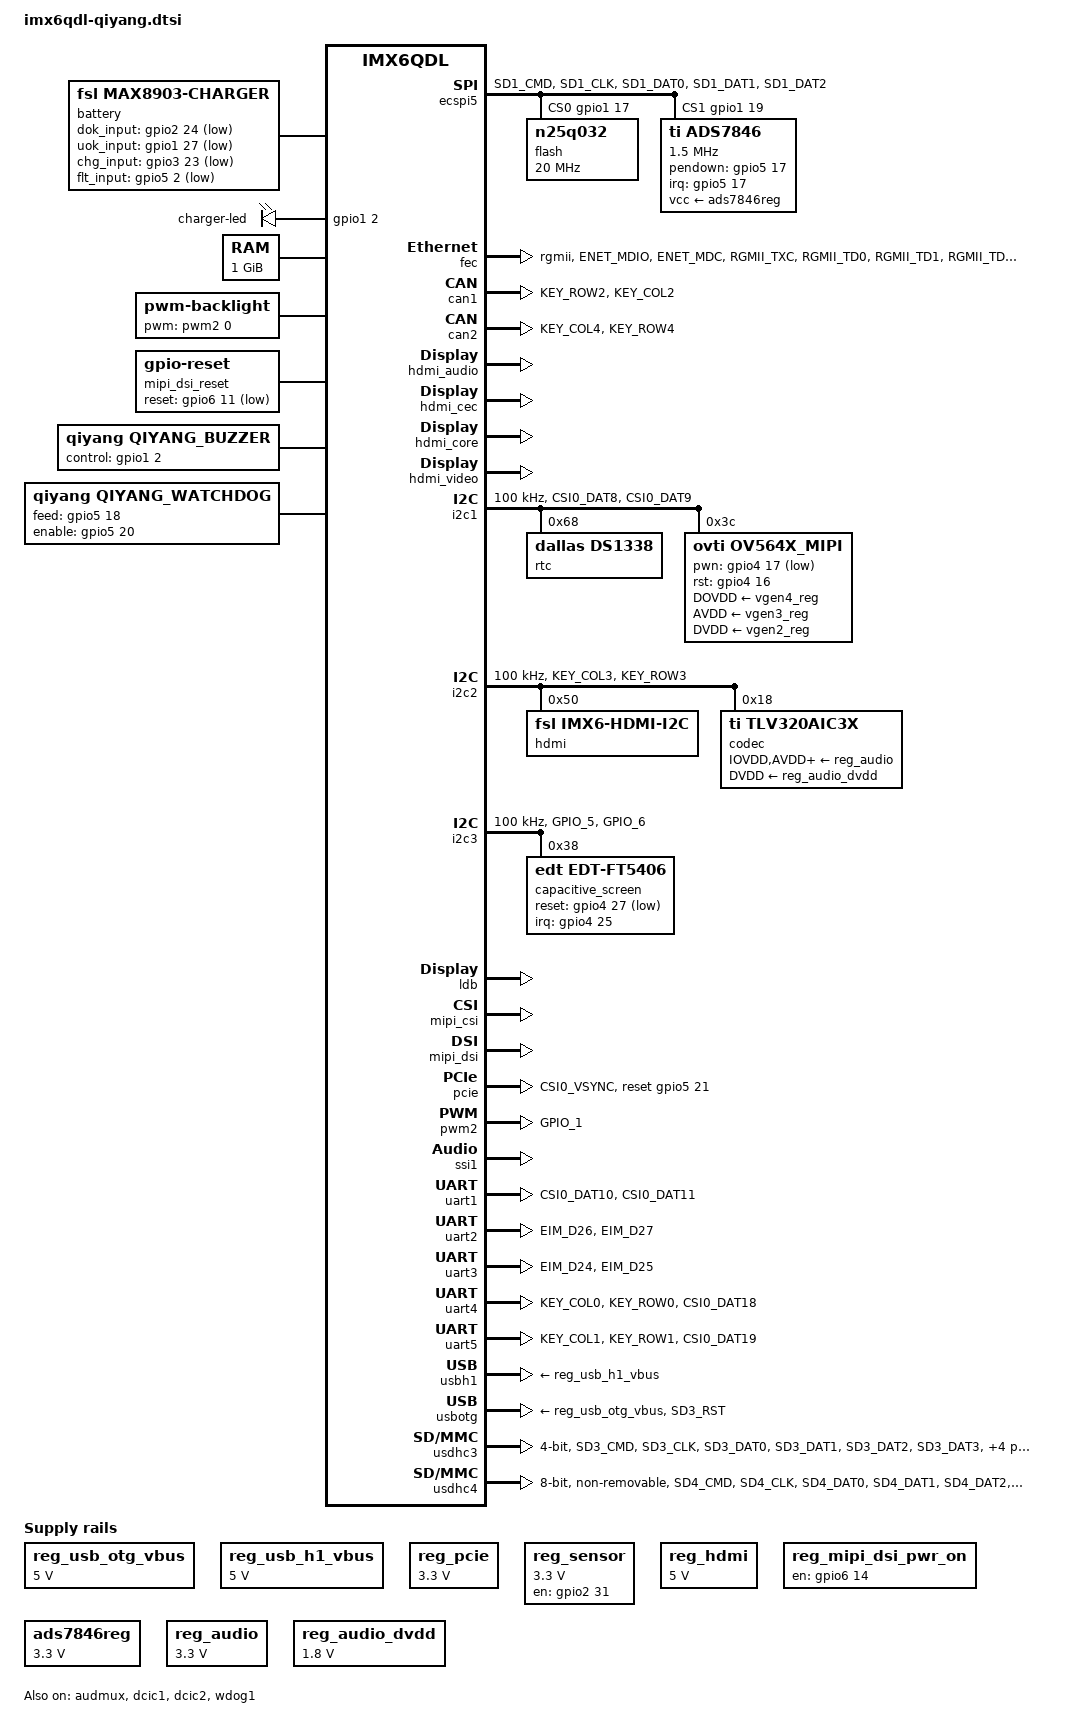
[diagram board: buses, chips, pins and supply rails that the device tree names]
/*
 * Copyright 2012-2016 Freescale Semiconductor, Inc.
 * Copyright 2011 Linaro Ltd.
 *
 * The code contained herein is licensed under the GNU General Public
 * License. You may obtain a copy of the GNU General Public License
 * Version 2 or later at the following locations:
 *
 * http://www.opensource.org/licenses/gpl-license.html
 * http://www.gnu.org/copyleft/gpl.html
 */

#include <dt-bindings/gpio/gpio.h>
#include <dt-bindings/input/input.h>

/ {
	aliases {
		mxcfb0 = &mxcfb1;
		mxcfb1 = &mxcfb2;
		mxcfb2 = &mxcfb3;
		mxcfb3 = &mxcfb4;
	};

	battery: max8903@0 {
		compatible = "fsl,max8903-charger";
		pinctrl-names = "default";
		dok_input = <&gpio2 24 1>;
		uok_input = <&gpio1 27 1>;
		chg_input = <&gpio3 23 1>;
		flt_input = <&gpio5 2 1>;
		fsl,dcm_always_high;
		fsl,dc_valid;
		fsl,usb_valid;
		status = "okay";
	};

	hannstar_cabc {
		compatible = "hannstar,cabc";
		lvds0 {
			gpios = <&gpio6 15 GPIO_ACTIVE_HIGH>;
		};
		lvds1 {
			gpios = <&gpio6 16 GPIO_ACTIVE_HIGH>;
		};
	};

	chosen {
		stdout-path = &uart1;
	};

	leds {
		compatible = "gpio-leds";

		charger-led {
			gpios = <&gpio1 2 0>;
			linux,default-trigger = "max8903-charger-charging";
			retain-state-suspended;
		};
	};

	memory: memory {
		reg = <0x10000000 0x40000000>;
	};

	regulators {
		compatible = "simple-bus";
		#address-cells = <1>;
		#size-cells = <0>;

		reg_usb_otg_vbus: regulator@0 {
			compatible = "regulator-fixed";
			reg = <0>;
			regulator-name = "usb_otg_vbus";
			regulator-min-microvolt = <5000000>;
			regulator-max-microvolt = <5000000>;
			regulator-always-on;
		};

		reg_usb_h1_vbus: regulator@1 {
			compatible = "regulator-fixed";
			reg = <1>;
			regulator-name = "usb_h1_vbus";
			regulator-min-microvolt = <5000000>;
			regulator-max-microvolt = <5000000>;
			regulator-always-on;
		};

		reg_pcie: regulator@3 {
			compatible = "regulator-fixed";
			reg = <3>;
			regulator-name = "MPCIE_3V3";
			regulator-min-microvolt = <3300000>;
			regulator-max-microvolt = <3300000>;
			regulator-always-on;
		};

		reg_sensor: regulator@4 {
			compatible = "regulator-fixed";
			reg = <4>;
			regulator-name = "sensor-supply";
			regulator-min-microvolt = <3300000>;
			regulator-max-microvolt = <3300000>;
			gpio = <&gpio2 31 0>;
			startup-delay-us = <500>;
			enable-active-high;
		};

		reg_hdmi: regulator@5 {
			compatible = "regulator-fixed";
			reg = <5>;
			regulator-name = "hdmi-5v-supply";
			regulator-min-microvolt = <5000000>;
			regulator-max-microvolt = <5000000>;
			enable-active-high;
			hdmi-5v-supply = <&swbst_reg>;
		};

		reg_mipi_dsi_pwr_on: mipi_dsi_pwr_on {
			compatible = "regulator-fixed";
			regulator-name = "mipi_dsi_pwr_on";
			gpio = <&gpio6 14 0>;
			enable-active-high;
		};
	};
        /*
	gpio-keys {
		compatible = "gpio-keys";
		pinctrl-names = "default";
		pinctrl-0 = <&pinctrl_gpio_keys>;

		power {
			label = "Power Button";
			gpios = <&gpio3 29 GPIO_ACTIVE_LOW>;
			gpio-key,wakeup;
			linux,code = <KEY_POWER>;
		};

		volume-up {
			label = "Volume Up";
			gpios = <&gpio1 4 GPIO_ACTIVE_LOW>;
			gpio-key,wakeup;
			linux,code = <KEY_VOLUMEUP>;
		};

		volume-down {
			label = "Volume Down";
			gpios = <&gpio1 5 GPIO_ACTIVE_LOW>;
			gpio-key,wakeup;
			linux,code = <KEY_VOLUMEDOWN>;
		};
	};
        */
        
	sound {
		compatible = "fsl,imx-audio-tlv320aic3x",
			 "fsl,imx-audio-tlv320aic3x";
		model = "tlv320aic3x-audio";
		cpu-dai = <&ssi1>;
		audio-codec = <&codec>;
		asrc-controller = <&asrc>;
		audio-routing =
				"Headphone Jack", "HPOUTL",
				"Headphone Jack", "HPOUTR",
			"Ext Spk", "SPKOUTL",
				"Ext Spk", "SPKOUTR",
				"AMIC", "MICBIAS",
				"IN3R", "AMIC",
				"DMIC", "MICBIAS",
				"DMICDAT", "DMIC",
				"CPU-Playback", "ASRC-Playback",
				"Playback", "CPU-Playback",
				"ASRC-Capture", "CPU-Capture",
				"CPU-Capture", "Capture";
		mux-int-port = <1>;
		mux-ext-port = <3>;
	};
	
	sound-hdmi {
		compatible = "fsl,imx6q-audio-hdmi",
			     "fsl,imx-audio-hdmi";
		model = "imx-audio-hdmi";
		hdmi-controller = <&hdmi_audio>;
	};

	mxcfb1: fb@0 {
		compatible = "fsl,mxc_sdc_fb";
		disp_dev = "ldb";
		interface_pix_fmt = "RGB666";
		default_bpp = <16>;
		int_clk = <0>;
		late_init = <0>;
		status = "disabled";
	};

	mxcfb2: fb@1 {
		compatible = "fsl,mxc_sdc_fb";
		disp_dev = "hdmi";
		interface_pix_fmt = "RGB24";
		mode_str ="1920x1080M@60";
		default_bpp = <24>;
		int_clk = <0>;
		late_init = <0>;
		status = "disabled";
	};

	mxcfb3: fb@2 {
		compatible = "fsl,mxc_sdc_fb";
		disp_dev = "lcd";
		interface_pix_fmt = "RGB565";
		mode_str ="CLAA-WVGA";
		default_bpp = <16>;
		int_clk = <0>;
		late_init = <0>;
		status = "disabled";
	};

	mxcfb4: fb@3 {
		compatible = "fsl,mxc_sdc_fb";
		disp_dev = "ldb";
		interface_pix_fmt = "RGB666";
		default_bpp = <16>;
		int_clk = <0>;
		late_init = <0>;
		status = "disabled";
	};
	/*
	lcd@0 {
		compatible = "fsl,lcd";
		ipu_id = <0>;
		disp_id = <0>;
		default_ifmt = "RGB565";
		pinctrl-names = "default";
		pinctrl-0 = <&pinctrl_ipu1>;
		status = "okay";
	};*/

	backlight {
		compatible = "pwm-backlight";
		pwms = <&pwm2 0 5000000>;
		brightness-levels = <0 4 8 16 32 64 128 255>;
		default-brightness-level = <7>;
		status = "okay";
	};

	v4l2_cap_0 {
		compatible = "fsl,imx6q-v4l2-capture";
		ipu_id = <0>;
		csi_id = <0>;
		mclk_source = <0>;
		status = "okay";
	};

	v4l2_cap_1 {
		compatible = "fsl,imx6q-v4l2-capture";
		ipu_id = <0>;
		csi_id = <1>;
		mclk_source = <0>;
		status = "okay";
	};

	v4l2_out {
		compatible = "fsl,mxc_v4l2_output";
		status = "okay";
	};

	mipi_dsi_reset: mipi-dsi-reset {
		compatible = "gpio-reset";
		reset-gpios = <&gpio6 11 GPIO_ACTIVE_LOW>;
		reset-delay-us = <50>;
		#reset-cells = <0>;
	};

	buzzer {
		compatible = "qiyang,qiyang_buzzer";
		control-gpios = <&gpio1 2 0>;
		status = "okay";
	};
	
	gpio {
		compatible = "qiyang,qiyang_imx6_gpio";
		status = "okay";
	};

	watchdog {
		compatible = "qiyang,qiyang_watchdog";
		feed-gpios = <&gpio5 18 0>;
		enable-gpios = <&gpio5 20 0>;
		status = "okay";
	};
	
	regulators {
		sw1a_reg: sw1ab {
		       regulator-min-microvolt = <300000>;
		       regulator-max-microvolt = <1875000>;
		       regulator-boot-on;
		       regulator-always-on;
		       regulator-ramp-delay = <6250>;
		};
		
		sw1c_reg: sw1c {
		       regulator-min-microvolt = <300000>;
		       regulator-max-microvolt = <1875000>;
		       regulator-boot-on;
		       regulator-always-on;
		       regulator-ramp-delay = <6250>;
		};
		
		sw2_reg: sw2 {
		       regulator-min-microvolt = <800000>;
		       regulator-max-microvolt = <3300000>;
		       regulator-boot-on;
		       regulator-always-on;
		       regulator-ramp-delay = <6250>;
		};
		
		sw3a_reg: sw3a {
		       regulator-min-microvolt = <400000>;
		       regulator-max-microvolt = <1975000>;
		       regulator-boot-on;
		       regulator-always-on;
		};
		
		sw3b_reg: sw3b {
		       regulator-min-microvolt = <400000>;
		       regulator-max-microvolt = <1975000>;
		       regulator-boot-on;
		       regulator-always-on;
		};
		
		sw4_reg: sw4 {
		       regulator-min-microvolt = <800000>;
		       regulator-max-microvolt = <3300000>;
		};
		
		swbst_reg: swbst {
		       regulator-min-microvolt = <5000000>;
		       regulator-max-microvolt = <5150000>;
		};
		
		snvs_reg: vsnvs {
		       regulator-min-microvolt = <1000000>;
		       regulator-max-microvolt = <3000000>;
		       regulator-boot-on;
		       regulator-always-on;
		};
		
		vref_reg: vrefddr {
		       regulator-boot-on;
		       regulator-always-on;
		};
		
		vgen1_reg: vgen1 {
		       regulator-min-microvolt = <800000>;
		       regulator-max-microvolt = <1550000>;
		};
		
		vgen2_reg: vgen2 {
		       regulator-min-microvolt = <800000>;
		       regulator-max-microvolt = <1550000>;
		};
		
		vgen3_reg: vgen3 {
		       regulator-min-microvolt = <1800000>;
		       regulator-max-microvolt = <3300000>;
		};
		
		vgen4_reg: vgen4 {
		       regulator-min-microvolt = <1800000>;
		       regulator-max-microvolt = <3300000>;
		       regulator-always-on;
		};
		
		vgen5_reg: vgen5 {
		       regulator-min-microvolt = <1800000>;
		       regulator-max-microvolt = <3300000>;
		       regulator-always-on;
		};
		
		vgen6_reg: vgen6 {
		       regulator-min-microvolt = <1800000>;
		       regulator-max-microvolt = <3300000>;
		       regulator-always-on;
		};

		ads7846reg: ads7846-reg {
			compatible = "regulator-fixed";
			regulator-name = "ads7846-reg";
			regulator-min-microvolt = <3300000>;
			regulator-max-microvolt = <3300000>;
		};

		reg_audio: tlv320-3v3 {
			compatible = "regulator-fixed";
			regulator-name = "tlv320-3v3";
			regulator-min-microvolt = <3300000>;
			regulator-max-microvolt = <3300000>;
		};

		reg_audio_dvdd: tlv320-1v8 {
			compatible = "regulator-fixed";
			regulator-name = "tlv320-1v8";
			regulator-min-microvolt = <1800000>;
			regulator-max-microvolt = <1800000>;
		};
		
	};
};

&audmux {
	pinctrl-names = "default";
	pinctrl-0 = <&pinctrl_audmux>;
	status = "okay";
};

/*
&cpu0 {
	arm-supply = <&sw1a_reg>;
	soc-supply = <&sw1c_reg>;
};
*/

&clks {
	fsl,ldb-di0-parent = <&clks IMX6QDL_CLK_PLL2_PFD0_352M>;
	fsl,ldb-di1-parent = <&clks IMX6QDL_CLK_PLL2_PFD0_352M>;
};

&ecspi5 {
	pinctrl-names = "default";
	pinctrl-0 = <&pinctrl_ecspi5>;
	fsl,spi-num-chipselects = <2>;
	cs-gpios = <&gpio1 17 0>, <&gpio1 19 0>;
	status = "okay";

	flash@0 {
		compatible = "n25q032";
		spi-max-frequency = <20000000>;
		reg = <0>;
	};

	ads7846@1 {
		pinctrl-names = "default";
		pinctrl-0 = <&pinctrl_ecspi5_ads7846_pin>;

		compatible = "ti,ads7846";
		vcc-supply = <&ads7846reg>;

		reg = <1>;				/* CS1 */
		spi-max-frequency = <1500000>;

		interrupt-parent = <&gpio5>;
		interrupts = <17 0>;			/* INT */
		pendown-gpio = <&gpio5 17 0>;

		ti,x-min = /bits/ 16 <0x0>;
		ti,x-max = /bits/ 16 <800>;
		ti,y-min = /bits/ 16 <0x0>;
		ti,y-max = /bits/ 16 <480>;

		ti,x-plate-ohms = /bits/ 16 <290>;
		ti,pressure-max = /bits/ 16 <600>;

		ti,debounce-max = /bits/ 16 <30>;
		ti,debounce-tol = /bits/ 16 <3>;
		ti,debounce-rep = /bits/ 16 <1>;

		linux,wakeup;
	};
};

&fec {
	pinctrl-names = "default";
	pinctrl-0 = <&pinctrl_enet>;
	phy-mode = "rgmii";
	phy-reset-gpios = <&gpio7 8 0>;
	fsl,magic-packet;
	status = "okay";
};

&can1 {
	pinctrl-names = "default";
	pinctrl-0 = <&pinctrl_flexcan1>;
	status = "okay";
};

&can2 {
	pinctrl-names = "default";
	pinctrl-0 = <&pinctrl_flexcan2>;
	status = "okay";
};

&gpc {
	fsl,ldo-bypass = <1>;
};

&dcic1 {
	dcic_id = <0>;
	dcic_mux = "dcic-hdmi";
	status = "okay";
};

&dcic2 {
	dcic_id = <1>;
	dcic_mux = "dcic-lvds1";
	status = "okay";
};

&hdmi_audio {
	status = "okay";
};

&hdmi_cec {
	status = "okay";
};

&hdmi_core {
	ipu_id = <0>;
	disp_id = <0>;
	status = "okay";
};

&hdmi_video {
	fsl,phy_reg_vlev = <0x0294>;
	fsl,phy_reg_cksymtx = <0x800d>;
	HDMI-supply = <&reg_hdmi>;
	status = "okay";
};

&i2c1 {
	clock-frequency = <100000>;
	pinctrl-names = "default";
	pinctrl-0 = <&pinctrl_i2c1>;
	status = "okay";

	rtc@68 {
		compatible = "dallas,ds1338";
		reg = <0x68>;
	};

	ov564x_mipi: ov564x_mipi@3c { /* i2c2 driver */
		compatible = "ovti,ov564x_mipi";
		reg = <0x3c>;
		clocks = <&clks 201>;
		clock-names = "csi_mclk";
		DOVDD-supply = <&vgen4_reg>; /* 1.8v */
		AVDD-supply = <&vgen3_reg>;  /* 2.8v, rev C board is VGEN3
						rev B board is VGEN5 */
		DVDD-supply = <&vgen2_reg>;  /* 1.5v*/
		pwn-gpios = <&gpio4 17 1>;   /* active low: SD1_CLK */
		rst-gpios = <&gpio4 16 0>;   /* active high: SD1_DAT2 */
		csi_id = <1>;
		mclk = <24000000>;
		mclk_source = <0>;
	};
};

&i2c2 {
	clock-frequency = <100000>;
	pinctrl-names = "default";
	pinctrl-0 = <&pinctrl_i2c2>;
	status = "okay";

	hdmi: edid@50 {
		compatible = "fsl,imx6-hdmi-i2c";
		reg = <0x50>;
	};
	
	codec: tlv320aic3x@18 {
		compatible = "ti,tlv320aic3x";
		reg = <0x18>;
		clocks = <&clks IMX6QDL_CLK_CKO>;
		ai3x-micbias-vg = <2>;
		clock-names = "mclk";
		IOVDD-supply = <&reg_audio>;
		DVDD-supply =  <&reg_audio_dvdd>;
		AVDD-supply =  <&reg_audio>;
		DRVDD-supply = <&reg_audio>;
	};
};

&i2c3 {
	clock-frequency = <100000>;
	pinctrl-names = "default";
	pinctrl-0 = <&pinctrl_i2c3>;
	status = "okay";

	capacitive_screen: ft5x06@38 {
		compatible = "edt,edt-ft5406", "edt,edt-ft5x06";
		reg = <0x38>;
		pinctrl-names = "default";
		pinctrl-0 = <&pinctrl_i2c3_edt_ft5x06_int>;
		interrupt-parent = <&gpio4>;
		interrupts = <25 0>;
		reset-gpios = <&gpio4 27 1>;
	};
};

&iomuxc {
	pinctrl-names = "default";
	pinctrl-0 = <&pinctrl_hog>;

	imx6qdl-qiyang {
		pinctrl_hog: hoggrp {
			fsl,pins = <
				MX6QDL_PAD_GPIO_0__CCM_CLKO1    0x130b0		//TVL320AIC3101 MCLK
				MX6QDL_PAD_SD3_DAT7__GPIO6_IO17 0x80000000      //otg oc
				MX6QDL_PAD_GPIO_1__GPIO1_IO01 0x80000000    	//otg pwr
				//MX6QDL_PAD_SD2_CLK__GPIO1_IO10  0x80000000	//hub rst ---not designed on IAC-IMX6-MB-V1.2 board
				MX6QDL_PAD_SD3_RST__GPIO7_IO08 0x80000000 	//NET PHY reset
				
				MX6QDL_PAD_NANDF_CS0__GPIO6_IO11 0x80000000	//U29 LM4871 control
				MX6QDL_PAD_NANDF_CS1__GPIO6_IO14 0x80000000	//U30 LM4871 control
				MX6QDL_PAD_GPIO_2__GPIO1_IO02 0x80000000	//buzzer
			        MX6QDL_PAD_CSI0_PIXCLK__GPIO5_IO18 0x80000000	//feed_dog pin
				MX6QDL_PAD_CSI0_DATA_EN__GPIO5_IO20 0x80000000	//enable pin

				MX6QDL_PAD_DI0_DISP_CLK__GPIO4_IO16 0x80000000	//mipi reset
				MX6QDL_PAD_DI0_PIN3__GPIO4_IO19 0x80000000	//mipi enable
				MX6QDL_PAD_DI0_PIN15__GPIO4_IO17 0x80000000	//mipi power

				/*J16 gpio*/
				MX6QDL_PAD_GPIO_4__GPIO1_IO04 0x80000000
				MX6QDL_PAD_GPIO_7__GPIO1_IO07 0x80000000
				MX6QDL_PAD_GPIO_8__GPIO1_IO08 0x80000000
				MX6QDL_PAD_GPIO_9__GPIO1_IO09 0x80000000
				MX6QDL_PAD_GPIO_16__GPIO7_IO11 0x80000000
				MX6QDL_PAD_GPIO_17__GPIO7_IO12 0x80000000
				MX6QDL_PAD_GPIO_18__GPIO7_IO13 0x80000000
				MX6QDL_PAD_GPIO_19__GPIO4_IO05 0x80000000

				/*J27 gpio*/
				MX6QDL_PAD_DISP0_DAT3__GPIO4_IO24 0x80000000
				MX6QDL_PAD_DISP0_DAT5__GPIO4_IO26 0x80000000
				MX6QDL_PAD_DISP0_DAT7__GPIO4_IO28 0x80000000
				MX6QDL_PAD_DISP0_DAT9__GPIO4_IO30 0x80000000
				MX6QDL_PAD_DISP0_DAT11__GPIO5_IO05 0x80000000
				MX6QDL_PAD_DISP0_DAT13__GPIO5_IO07 0x80000000
				MX6QDL_PAD_DISP0_DAT15__GPIO5_IO09 0x80000000
				MX6QDL_PAD_DISP0_DAT17__GPIO5_IO11 0x80000000

			>;
		};

		pinctrl_audmux: audmuxgrp {
			fsl,pins = <
				MX6QDL_PAD_CSI0_DAT4__AUD3_TXC   		0x17088
				MX6QDL_PAD_CSI0_DAT5__AUD3_TXD			0x17088
				MX6QDL_PAD_CSI0_DAT6__AUD3_TXFS			0x17088
				MX6QDL_PAD_CSI0_DAT7__AUD3_RXD			0x17088
			>;
		};

		pinctrl_flexcan1: flexcan1grp {
			fsl,pins = <
				MX6QDL_PAD_KEY_ROW2__FLEXCAN1_RX        0x17059
				MX6QDL_PAD_KEY_COL2__FLEXCAN1_TX	0x17059
			>;
		};

		pinctrl_flexcan2: flexcan2grp {
			fsl,pins = <
				MX6QDL_PAD_KEY_COL4__FLEXCAN2_TX	0x17059
				MX6QDL_PAD_KEY_ROW4__FLEXCAN2_RX	0x17059
			>;
		};

		pinctrl_ecspi5_ads7846_pin: ads7846_pingrp {
			fsl,pins = <
				MX6QDL_PAD_DISP0_DAT23__GPIO5_IO17	0x80000000	//ads7846 int
			>;
		};

		pinctrl_ecspi5: ecspi5grp {
			fsl,pins = <
				MX6QDL_PAD_SD1_CMD__ECSPI5_MOSI		0x100b1
			        MX6QDL_PAD_SD1_CLK__ECSPI5_SCLK		0x100b1
			        MX6QDL_PAD_SD1_DAT0__ECSPI5_MISO	0x100b1
			        MX6QDL_PAD_SD1_DAT1__GPIO1_IO17		0x1b0b0	//cs0
			        MX6QDL_PAD_SD1_DAT2__GPIO1_IO19		0x1b0b0	//cs1
			>;
		};

		pinctrl_enet: enetgrp {
			fsl,pins = <
				MX6QDL_PAD_ENET_MDIO__ENET_MDIO		0x1b0b0
				MX6QDL_PAD_ENET_MDC__ENET_MDC		0x1b0b0
				MX6QDL_PAD_RGMII_TXC__RGMII_TXC		0x1b0b0
				MX6QDL_PAD_RGMII_TD0__RGMII_TD0		0x1b0b0
				MX6QDL_PAD_RGMII_TD1__RGMII_TD1		0x1b0b0
				MX6QDL_PAD_RGMII_TD2__RGMII_TD2		0x1b0b0
				MX6QDL_PAD_RGMII_TD3__RGMII_TD3		0x1b0b0
				MX6QDL_PAD_RGMII_TX_CTL__RGMII_TX_CTL	0x1b0b0
				MX6QDL_PAD_ENET_REF_CLK__ENET_TX_CLK	0x1b0b0
				MX6QDL_PAD_RGMII_RXC__RGMII_RXC		0x1b0b0
				MX6QDL_PAD_RGMII_RD0__RGMII_RD0		0x1b0b0
				MX6QDL_PAD_RGMII_RD1__RGMII_RD1		0x1b0b0
				MX6QDL_PAD_RGMII_RD2__RGMII_RD2		0x1b0b0
				MX6QDL_PAD_RGMII_RD3__RGMII_RD3		0x1b0b0
				MX6QDL_PAD_RGMII_RX_CTL__RGMII_RX_CTL	0x1b0b0
			>;
		};

		pinctrl_gpio_keys: gpio_keysgrp {
			fsl,pins = <
			>;
		};

		pinctrl_hdmi_hdcp: hdmihdcpgrp {
			fsl,pins = <
				MX6QDL_PAD_KEY_COL3__HDMI_TX_DDC_SCL 0x4001b8b1
				MX6QDL_PAD_KEY_ROW3__HDMI_TX_DDC_SDA 0x4001b8b1
			>;
		};

		pinctrl_i2c1: i2c1grp {
			fsl,pins = <
				MX6QDL_PAD_CSI0_DAT8__I2C1_SDA		0x4001b8b1
				MX6QDL_PAD_CSI0_DAT9__I2C1_SCL		0x4001b8b1
			>;
		};

		pinctrl_i2c2: i2c2grp {
			fsl,pins = <
				MX6QDL_PAD_KEY_COL3__I2C2_SCL		0x4001b8b1
				MX6QDL_PAD_KEY_ROW3__I2C2_SDA		0x4001b8b1
			>;
		};

		pinctrl_i2c3: i2c3grp {
			fsl,pins = <
				MX6QDL_PAD_GPIO_5__I2C3_SCL		0x4001b8b1
				MX6QDL_PAD_GPIO_6__I2C3_SDA		0x4001b8b1
			>;
		};

		pinctrl_i2c3_edt_ft5x06_int: edt_ft5x06_intgrp {
			fsl,pins = <
				MX6QDL_PAD_DISP0_DAT4__GPIO4_IO25	0x80000000	//INT pin
				MX6QDL_PAD_DISP0_DAT6__GPIO4_IO27	0x80000000	//reset pin
			>;
		};

		pinctrl_ipu1: ipu1grp {
			fsl,pins = <
				/*
				MX6QDL_PAD_DI0_DISP_CLK__IPU1_DI0_DISP_CLK 0x10
				MX6QDL_PAD_DI0_PIN15__IPU1_DI0_PIN15       0x10
				MX6QDL_PAD_DI0_PIN2__IPU1_DI0_PIN02        0x10
				MX6QDL_PAD_DI0_PIN3__IPU1_DI0_PIN03        0x10
				MX6QDL_PAD_DI0_PIN4__IPU1_DI0_PIN04        0x80000000
				MX6QDL_PAD_DISP0_DAT0__IPU1_DISP0_DATA00   0x10
				MX6QDL_PAD_DISP0_DAT1__IPU1_DISP0_DATA01   0x10
				MX6QDL_PAD_DISP0_DAT2__IPU1_DISP0_DATA02   0x10
				MX6QDL_PAD_DISP0_DAT3__IPU1_DISP0_DATA03   0x10
				MX6QDL_PAD_DISP0_DAT4__IPU1_DISP0_DATA04   0x10
				MX6QDL_PAD_DISP0_DAT5__IPU1_DISP0_DATA05   0x10
				MX6QDL_PAD_DISP0_DAT6__IPU1_DISP0_DATA06   0x10
				MX6QDL_PAD_DISP0_DAT7__IPU1_DISP0_DATA07   0x10
				MX6QDL_PAD_DISP0_DAT8__IPU1_DISP0_DATA08   0x10
				MX6QDL_PAD_DISP0_DAT9__IPU1_DISP0_DATA09   0x10
				MX6QDL_PAD_DISP0_DAT10__IPU1_DISP0_DATA10  0x10
				MX6QDL_PAD_DISP0_DAT11__IPU1_DISP0_DATA11  0x10
				MX6QDL_PAD_DISP0_DAT12__IPU1_DISP0_DATA12  0x10
				MX6QDL_PAD_DISP0_DAT13__IPU1_DISP0_DATA13  0x10
				MX6QDL_PAD_DISP0_DAT14__IPU1_DISP0_DATA14  0x10
				MX6QDL_PAD_DISP0_DAT15__IPU1_DISP0_DATA15  0x10
				MX6QDL_PAD_DISP0_DAT16__IPU1_DISP0_DATA16  0x10
				MX6QDL_PAD_DISP0_DAT17__IPU1_DISP0_DATA17  0x10
				MX6QDL_PAD_DISP0_DAT18__IPU1_DISP0_DATA18  0x10
				MX6QDL_PAD_DISP0_DAT19__IPU1_DISP0_DATA19  0x10
				MX6QDL_PAD_DISP0_DAT20__IPU1_DISP0_DATA20  0x10
				MX6QDL_PAD_DISP0_DAT21__IPU1_DISP0_DATA21  0x10
				MX6QDL_PAD_DISP0_DAT22__IPU1_DISP0_DATA22  0x10
				MX6QDL_PAD_DISP0_DAT23__IPU1_DISP0_DATA23  0x10
				*/
			>;
		};

		pinctrl_pcie: pciegrp {
			fsl,pins = <
				MX6QDL_PAD_CSI0_VSYNC__GPIO5_IO21	0x1b0b0
			>;
		};

		pinctrl_pwm2: pwm2grp {
			fsl,pins = <
				MX6QDL_PAD_GPIO_1__PWM2_OUT		0x1b0b1	//j16_19 pwm
			>;
		};

		pinctrl_uart1: uart1grp {
			fsl,pins = <
				MX6QDL_PAD_CSI0_DAT10__UART1_TX_DATA	0x1b0b1
				MX6QDL_PAD_CSI0_DAT11__UART1_RX_DATA	0x1b0b1
			>;
		};

                pinctrl_uart2: uart2grp {
			fsl,pins = <
				MX6QDL_PAD_EIM_D26__UART2_TX_DATA       0x1b0b1
				MX6QDL_PAD_EIM_D27__UART2_RX_DATA       0x1b0b1
			>;
		};

                pinctrl_uart3: uart3grp {
			fsl,pins = <
				MX6QDL_PAD_EIM_D24__UART3_TX_DATA       0x1b0b1
				MX6QDL_PAD_EIM_D25__UART3_RX_DATA       0x1b0b1
			>;
		};

                pinctrl_uart4: uart4grp {
			fsl,pins = <
				MX6QDL_PAD_KEY_COL0__UART4_TX_DATA      0x1b0b1
				MX6QDL_PAD_KEY_ROW0__UART4_RX_DATA      0x1b0b1
				MX6QDL_PAD_CSI0_DAT18__GPIO6_IO04	0x80000000	//rs485 ctl
			>;
		};

                pinctrl_uart5: uart5grp {
			fsl,pins = <
				MX6QDL_PAD_KEY_COL1__UART5_TX_DATA      0x1b0b1
				MX6QDL_PAD_KEY_ROW1__UART5_RX_DATA      0x1b0b1
				MX6QDL_PAD_CSI0_DAT19__GPIO6_IO05	0x80000000	//rs485 ctl
			>;
		};

		pinctrl_usbotg: usbotggrp {
			fsl,pins = <
				MX6QDL_PAD_SD3_RST__GPIO7_IO08		0x17059
			>;
		};

		pinctrl_usdhc3: usdhc3grp {
			fsl,pins = <
				MX6QDL_PAD_SD3_CMD__SD3_CMD		0x17059
				MX6QDL_PAD_SD3_CLK__SD3_CLK		0x10059
				MX6QDL_PAD_SD3_DAT0__SD3_DATA0		0x17059
				MX6QDL_PAD_SD3_DAT1__SD3_DATA1		0x17059
				MX6QDL_PAD_SD3_DAT2__SD3_DATA2		0x17059
				MX6QDL_PAD_SD3_DAT3__SD3_DATA3		0x17059

                                MX6QDL_PAD_SD3_DAT5__GPIO7_IO00 0x80000000 //sd3 cd
                                MX6QDL_PAD_SD3_DAT4__GPIO7_IO01 0x80000000 //sd3 wr
			>;
		};

		pinctrl_usdhc4: usdhc4grp {
			fsl,pins = <
				MX6QDL_PAD_SD4_CMD__SD4_CMD		0x17059
				MX6QDL_PAD_SD4_CLK__SD4_CLK		0x10059
				MX6QDL_PAD_SD4_DAT0__SD4_DATA0		0x17059
				MX6QDL_PAD_SD4_DAT1__SD4_DATA1		0x17059
				MX6QDL_PAD_SD4_DAT2__SD4_DATA2		0x17059
				MX6QDL_PAD_SD4_DAT3__SD4_DATA3		0x17059
				MX6QDL_PAD_SD4_DAT4__SD4_DATA4		0x17059
				MX6QDL_PAD_SD4_DAT5__SD4_DATA5		0x17059
				MX6QDL_PAD_SD4_DAT6__SD4_DATA6		0x17059
				MX6QDL_PAD_SD4_DAT7__SD4_DATA7		0x17059
			>;
		};
	};
};

&ldb {
	status = "okay";

	lvds-channel@0 {
		fsl,data-mapping = "spwg";
		//set lvds mode and data-width from uboot
		//fsl,data-width = <24>;
		status = "okay";

		display-timings {
			native-mode = <&timing0>;
			timing0: hsd100pxn1 {
				clock-frequency = <51448320>;
				hactive = <1024>;
				vactive = <600>;
				hback-porch = <220>;
				hfront-porch = <40>;
				vback-porch = <21>;
				vfront-porch = <7>;
				hsync-len = <60>;
				vsync-len = <10>;
			};
		};
	};

	lvds-channel@1 {
		fsl,data-mapping = "spwg";
		//set lvds mode and data-width from uboot
		//fsl,data-width = <24>;
		primary;
		status = "okay";

		display-timings {
			native-mode = <&timing1>;
			timing1: hsd100pxn1 {
				clock-frequency = <51448320>;
				hactive = <1024>;
				vactive = <600>;
				hback-porch = <220>;
				hfront-porch = <40>;
				vback-porch = <21>;
				vfront-porch = <7>;
				hsync-len = <60>;
				vsync-len = <10>;
			};
		};
	};
};

&mipi_csi {
	status = "okay";
	ipu_id = <0>;
	csi_id = <1>;
	v_channel = <0>;
	lanes = <2>;
};

&mipi_dsi {
	dev_id = <0>;
	disp_id = <1>;
	lcd_panel = "TRULY-WVGA";
	disp-power-on-supply = <&reg_mipi_dsi_pwr_on>;
	resets = <&mipi_dsi_reset>;
	status = "okay";
};

&pcie {
	pinctrl-names = "default";
	pinctrl-0 = <&pinctrl_pcie>;
	reset-gpio = <&gpio5 21 0>;
	status = "okay";
};

&pwm2 {
	pinctrl-names = "default";
	pinctrl-0 = <&pinctrl_pwm2>;
	status = "okay";
};

&snvs_poweroff {
	status = "okay";
};

&ssi1 {
	status = "okay";
};

&uart1 {
	pinctrl-names = "default";
	pinctrl-0 = <&pinctrl_uart1>;
	status = "okay";
};

&uart2 {
	pinctrl-names = "default";
	pinctrl-0 = <&pinctrl_uart2>;
	status = "okay";
};

&uart3 {
	pinctrl-names = "default";
	pinctrl-0 = <&pinctrl_uart3>;
	status = "okay";
};

&uart4 {
	pinctrl-names = "default";
	pinctrl-0 = <&pinctrl_uart4>;
	rs485-flow-ctrl-gpio = <&gpio6 4 0>;
	status = "okay";
};

&uart5 {
	pinctrl-names = "default";
	pinctrl-0 = <&pinctrl_uart5>;
	rs485-flow-ctrl-gpio = <&gpio6 5 0>;
	status = "okay";
};

&usbh1 {
	vbus-supply = <&reg_usb_h1_vbus>;
	status = "okay";
	//usb-hub-reset not designed on IAC-IMX6-MB-V1.2 board
	//usb-hub-reset-gpios = <&gpio1 10 0>;
};

&usbotg {
	vbus-supply = <&reg_usb_otg_vbus>;
	pinctrl-names = "default";
	pinctrl-0 = <&pinctrl_usbotg>;
	host-mode-power-gpios = <&gpio1 1 0>;
	disable-over-current;
	srp-disable;
	hnp-disable;
	adp-disable;
	status = "okay";
};

&usbphy1 {
	tx-d-cal = <0x5>;
};

&usbphy2 {
	tx-d-cal = <0x5>;
};

&usdhc3 {
	pinctrl-names = "default";
	pinctrl-0 = <&pinctrl_usdhc3>;
	bus-width = <4>;
	cd-gpios = <&gpio7 0 GPIO_ACTIVE_LOW>;
	wp-gpios = <&gpio7 1 GPIO_ACTIVE_HIGH>;
	no-1-8-v;
	keep-power-in-suspend;
	enable-sdio-wakeup;
	status = "okay";
};

&usdhc4 {
	pinctrl-names = "default";
	pinctrl-0 = <&pinctrl_usdhc4>;
	bus-width = <8>;
	non-removable;
	no-1-8-v;
	keep-power-in-suspend;
	status = "okay";
};

&wdog1 {
	status = "okay";
};

